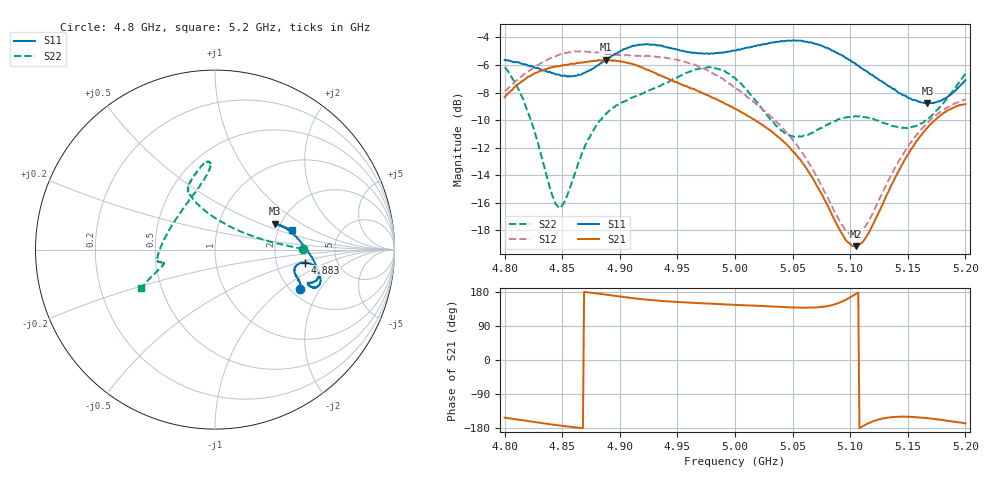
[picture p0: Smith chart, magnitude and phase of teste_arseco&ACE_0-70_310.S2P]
! Network Analyzer HP8722D
! Hewlett-Packard
! Data name: Linha & Wilkinson
! Saver's name: Rodrigo Anjos
! Comments: Teste da utilização de aquisição
! continua pelo VNA HP8722D
! Time and date: 8/5/2025 15:20
!  Frequency  S11  S21  S12  S22
# HZ  S  MA R 50
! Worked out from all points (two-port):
!   401 points, 4.8 GHz to 5.2 GHz, reference 50 ohm
!   highest |S21| = -5.61 dB at 4.888 GHz (marker M1); lowest = -19.2 dB at 5.105 GHz (marker M2)
!   |S21| within 3 dB of the highest: start of sweep to 4.987 GHz
!   lowest |S11| = -8.8 dB at 5.167 GHz (marker M3), VSWR 2.14, Z = 93.4 + j31 ohm
!   |S11| at or under -10 dB: nowhere
!   |S22| runs from -16.4 to -6.1 dB; largest |S21 - S12| = 1.1
!   S11 on the Smith chart (normalised r, x): 4.8 GHz: 2.23, -1.35; 4.883 GHz: 2.94, -0.57; 5.2 GHz: 2.36, +0.65
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4.8e9  0.5222 -25.0  0.383 -152.3  0.4031 6.9  0.4909 0.4
4.818e9  0.5046 -21.0  0.446 -160.1  0.4686 4.3  0.3579 5.3
4.84e9  0.47 -17.6  0.4898 -169.8  0.5316 0.8  0.1753 34.6
4.846e9  0.4636 -16.2  0.495 -172.2  0.544 -0.2  0.1541 55.7
4.853e9  0.4564 -14.6  0.5004 -174.9  0.5542 -1.5  0.1623 80.9
4.867e9  0.4633 -10.7  0.5125 -179.6  0.561 -3.5  0.239 106.8
4.883e9  0.5076 -8.2  0.5199 174.5  0.5532 -4.6  0.3161 113.8
4.888e9  0.5232 -8.3  0.5243 172.4  0.5499 -4.4  0.3327 114.2
4.912e9  0.5871 -12.0  0.5031 162.8  0.5415 -3.5  0.3832 112.6
4.934e9  0.591 -16.9  0.4614 156.2  0.537 -4.5  0.4193 107.0
4.975e9  0.552 -20.0  0.391 149.3  0.4836 -7.8  0.4893 95.0
5e9  0.5657 -21.0  0.3472 145.3  0.4174 -7.8  0.449 94.1
5.042e9  0.6107 -19.1  0.2644 139.8  0.2937 0.3  0.2871 129.6
5.067e9  0.6033 -14.2  0.1959 138.2  0.2111 8.3  0.2847 165.3
5.093e9  0.5428 -4.7  0.122 154.4  0.1314 33.7  0.3207 -173.8
5.105e9  0.5049 1.2  0.1102 174.7  0.1206 56.8  0.3267 -170.0
5.115e9  0.4731 6.2  0.1212 -168.0  0.1336 75.6  0.3232 -167.8
5.134e9  0.4196 15.8  0.1767 -151.6  0.1938 94.0  0.3033 -166.5
5.151e9  0.3804 21.8  0.2402 -149.9  0.2573 98.5  0.2978 -165.1
5.167e9  0.3635 23.4  0.2961 -153.6  0.3094 99.2  0.3191 -161.8
5.182e9  0.3787 21.0  0.3378 -159.3  0.3465 99.1  0.3697 -157.8
5.2e9  0.4414 14.6  0.361 -167.0  0.3762 99.6  0.4657 -152.3
